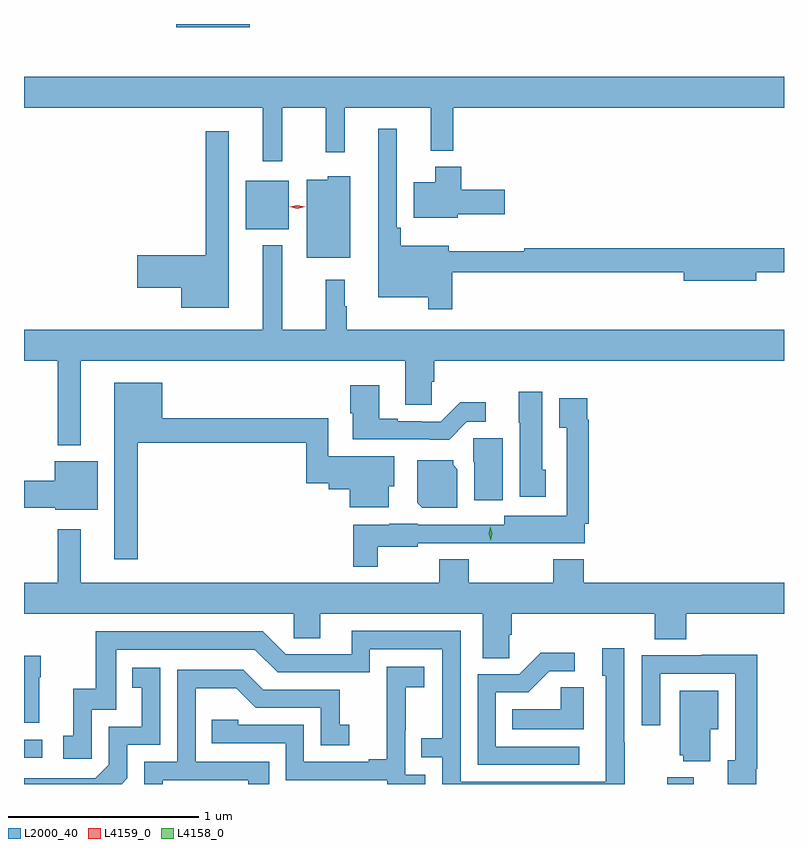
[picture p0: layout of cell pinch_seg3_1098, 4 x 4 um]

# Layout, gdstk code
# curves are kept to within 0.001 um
import gdstk
lib = gdstk.Library(unit=1e-6, precision=1e-09)
def R(c, l, rs):  # rectangles x0, y0, x1, y1
    for r in rs: c.add(gdstk.rectangle(r[:2], r[2:], *l))
def P(c, l, *ps):  # polygons
    for p in ps: c.add(gdstk.Polygon(p, *l))
L2000_40 = (2000, 40)
L4158_0 = (4158, 0)
L4159_0 = (4159, 0)

pinch_seg3_1098 = lib.new_cell('pinch_seg3_1098')
R(pinch_seg3_1098, L2000_40, [(340.859,725.329,340.999,725.365), (337.473,725.466,337.57,725.562), (338.639,728.249,338.866,728.503), (338.274,729.311,338.662,729.329)])
P(pinch_seg3_1098, L2000_40, [(338.833,728.888),(339.061,728.888),(339.061,728.655),(339.161,728.655),(339.161,728.888),(339.614,728.888),(339.614,728.663),(339.731,728.663),(339.731,728.888),(341.473,728.888),(341.473,729.052),(337.473,729.052),(337.473,728.888),(338.729,728.888),(338.729,728.607),(338.833,728.607)],
  [(339.728,728.022),(340.946,728.022),(340.946,727.979),(341.326,727.979),(341.326,728.022),(341.473,728.022),(341.473,728.15),(340.105,728.15),(340.105,728.132),(339.709,728.132),(339.709,728.161),(339.455,728.161),(339.455,728.257),(339.435,728.257),(339.435,728.779),(339.338,728.779),(339.338,727.892),(339.6,727.892),(339.6,727.827),(339.728,727.827)],
  [(338.551,728.764),(338.43,728.764),(338.43,728.111),(338.07,728.111),(338.07,727.94),(338.3,727.94),(338.3,727.835),(338.551,727.835)],
  [(339.756,728.327),(340.003,728.327),(340.003,728.457),(339.773,728.457),(339.773,728.578),(339.638,728.578),(339.638,728.497),(339.524,728.497),(339.524,728.309),(339.756,728.309)],
  [(339.19,728.527),(339.072,728.527),(339.072,728.509),(338.96,728.509),(338.96,728.099),(339.19,728.099)],
  [(337.771,727.556),(339.479,727.556),(339.479,727.324),(339.618,727.324),(339.618,727.446),(339.632,727.446),(339.632,727.556),(341.473,727.556),(341.473,727.72),(339.172,727.72),(339.172,727.844),(339.16,727.844),(339.16,727.984),(339.061,727.984),(339.061,727.72),(338.833,727.72),(338.833,728.164),(338.729,728.164),(338.729,727.72),(337.473,727.72),(337.473,727.556),(337.65,727.556),(337.65,727.112),(337.771,727.112)],
  [(338.071,727.126),(338.959,727.126),(338.959,726.911),(339.077,726.911),(339.077,726.881),(339.188,726.881),(339.188,726.785),(339.394,726.785),(339.394,726.897),(339.421,726.897),(339.421,727.054),(339.075,727.054),(339.075,727.255),(338.2,727.255),(338.2,727.441),(337.949,727.441),(337.949,726.513),(338.071,726.513)],
  [(339.804,727.236),(339.904,727.236),(339.904,727.339),(339.769,727.339),(339.666,727.236),(339.566,727.236),(339.566,727.239),(339.439,727.239),(339.439,727.252),(339.343,727.252),(339.343,727.429),(339.191,727.429),(339.191,727.281),(339.203,727.281),(339.203,727.143),(339.71,727.142)],
  [(340.219,726.984),(340.201,726.984),(340.201,727.393),(340.076,727.393),(340.076,727.23),(340.082,727.23),(340.082,726.84),(340.219,726.84)],
  [(339.334,726.578),(339.546,726.578),(339.546,726.597),(340.063,726.597),(340.063,726.596),(340.425,726.596),(340.425,726.7),(340.445,726.7),(340.445,727.247),(340.438,727.247),(340.438,727.36),(340.289,727.36),(340.289,727.204),(340.329,727.204),(340.329,726.742),(340.001,726.742),(340.001,726.693),(339.546,726.693),(339.546,726.7),(339.396,726.7),(339.396,726.694),(339.205,726.694),(339.205,726.473),(339.334,726.473)],
  [(339.994,727.149),(339.838,727.149),(339.838,727.026),(339.842,727.026),(339.842,726.823),(339.994,726.823)],
  [(339.754,726.986),(339.732,727.008),(339.732,727.033),(339.542,727.033),(339.542,726.808),(339.568,726.782),(339.754,726.782)],
  [(337.861,727.027),(337.634,727.027),(337.634,726.926),(337.473,726.926),(337.473,726.784),(337.638,726.784),(337.638,726.773),(337.861,726.773)],
  [(340.026,726.115),(340.04,726.115),(340.04,726.224),(340.793,726.224),(340.793,726.091),(340.958,726.091),(340.958,726.224),(341.473,726.224),(341.473,726.388),(340.418,726.388),(340.418,726.511),(340.258,726.511),(340.258,726.388),(339.813,726.388),(339.813,726.512),(339.658,726.512),(339.658,726.388),(337.771,726.388),(337.771,726.67),(337.65,726.67),(337.65,726.388),(337.473,726.388),(337.473,726.224),(338.892,726.224),(338.892,726.097),(339.031,726.097),(339.031,726.224),(339.887,726.224),(339.887,725.992),(340.026,725.992)],
  [(340.635,725.549),(340.632,725.549),(340.632,726.043),(340.517,726.043),(340.517,725.898),(340.536,725.898),(340.536,725.34),(339.771,725.34),(339.771,726.135),(339.197,726.135),(339.197,726.012),(338.85,726.012),(338.73,726.132),(337.851,726.132),(337.851,725.83),(337.733,725.83),(337.733,725.583),(337.68,725.583),(337.68,725.463),(337.83,725.463),(337.83,725.721),(337.959,725.721),(337.959,726.036),(338.688,726.036),(338.808,725.916),(339.294,725.916),(339.294,726.039),(339.675,726.039),(339.675,725.57),(339.565,725.57),(339.565,725.469),(339.675,725.469),(339.675,725.329),(340.635,725.329)],
  [(340.396,725.526),(339.957,725.526),(339.957,725.811),(340.126,725.811),(340.237,725.922),(340.372,725.922),(340.372,726.02),(340.193,726.02),(340.08,725.907),(339.861,725.907),(339.861,725.43),(340.396,725.43)],
  [(341.326,725.41),(341.333,725.41),(341.333,726.008),(341.041,726.008),(341.041,726.006),(340.725,726.006),(340.725,725.637),(340.821,725.637),(340.821,725.91),(341.217,725.91),(341.217,725.454),(341.177,725.454),(341.177,725.329),(341.326,725.329)],
  [(337.552,725.891),(337.56,725.891),(337.56,726.004),(337.473,726.004),(337.473,725.651),(337.552,725.651)],
  [(339.585,725.379),(339.48,725.379),(339.48,725.609),(339.482,725.609),(339.482,725.837),(339.58,725.837),(339.58,725.947),(339.382,725.947),(339.382,725.741),(339.383,725.741),(339.383,725.458),(339.287,725.458),(339.287,725.445),(338.946,725.445),(338.946,725.64),(338.601,725.64),(338.601,725.667),(338.461,725.667),(338.461,725.544),(338.85,725.544),(338.85,725.349),(339.384,725.349),(339.384,725.329),(339.585,725.329)],
  [(338.016,725.358),(338.016,725.535),(338.19,725.535),(338.19,725.941),(338.044,725.941),(338.044,725.835),(338.093,725.835),(338.093,725.631),(337.92,725.631),(337.92,725.43),(337.848,725.358),(337.473,725.358),(337.473,725.329),(337.987,725.329)],
  [(338.203,725.349),(338.654,725.349),(338.654,725.329),(338.765,725.329),(338.765,725.445),(338.376,725.445),(338.376,725.834),(338.59,725.834),(338.694,725.73),(339.036,725.73),(339.036,725.532),(339.184,725.532),(339.184,725.641),(339.135,725.641),(339.135,725.826),(338.731,725.826),(338.626,725.931),(338.28,725.931),(338.28,725.445),(338.106,725.445),(338.106,725.329),(338.203,725.329)],
  [(340.42,725.837),(340.299,725.837),(340.299,725.722),(340.042,725.722),(340.042,725.618),(340.42,725.618)],
  [(341.086,725.618),(341.128,725.618),(341.128,725.821),(340.925,725.821),(340.925,725.481),(340.943,725.481),(340.943,725.45),(341.086,725.45)])
P(pinch_seg3_1098, L4158_0, [(339.93,726.611),(339.93,726.611),(339.918,726.646),(339.926,726.683),(339.926,726.683),(339.927,726.683),(339.938,726.647),(339.93,726.611)])
P(pinch_seg3_1098, L4159_0, [(338.912,728.356),(338.872,728.366),(338.871,728.366),(338.872,728.366),(338.912,728.376),(338.953,728.366),(338.953,728.366),(338.953,728.366)])

lib.write_gds('pinch_seg3_1098.gds')
